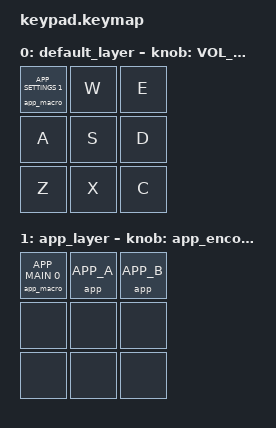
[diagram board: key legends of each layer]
#include <behaviors.dtsi>
#include <dt-bindings/zmk/keys.h>
#include <behaviors/app.dtsi>

/ {
    keymap {
        compatible = "zmk,keymap";

        default_layer {
            bindings = <
                &app_macro APP_SETTINGS 1 &kp W &kp E
                &kp A &kp S &kp D
                &kp Z &kp X &kp C
            >;

            sensor-bindings = <&inc_dec_kp C_VOL_UP C_VOL_DN>;
        };

        app_layer {
            bindings = <
                &app_macro APP_MAIN 0 &app APP_A &app APP_B
                &none &none &none
                &none &none &none
            >;

            sensor-bindings = <&app_encoder>;
        };
    };

    combos {
        compatible = "zmk,combos";
        combo_esc {
            timeout-ms = <50>;
            key-positions = <0 2 6 8>;
            bindings = <&bootloader>;
        };
    };
};
